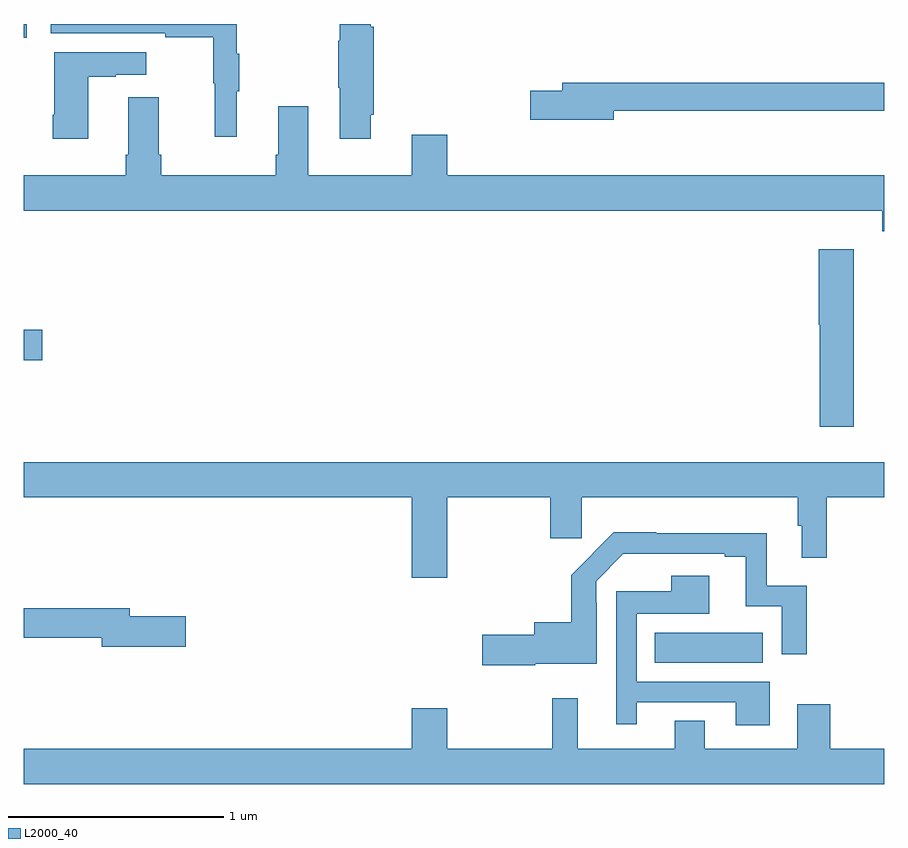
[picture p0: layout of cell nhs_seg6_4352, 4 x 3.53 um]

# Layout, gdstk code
import gdstk
lib = gdstk.Library(unit=1e-6, precision=1e-09)
def R(c, l, rs):  # rectangles x0, y0, x1, y1
    for r in rs: c.add(gdstk.rectangle(r[:2], r[2:], *l))
def P(c, l, *ps):  # polygons
    for p in ps: c.add(gdstk.Polygon(p, *l))
L2000_40 = (2000, 40)

nhs_seg6_4352 = lib.new_cell('nhs_seg6_4352')
R(nhs_seg6_4352, L2000_40, [(369.934,982.532,370.435,982.672), (367,983.938,367.087,984.08), (367,985.437,367.015,985.5)])
P(nhs_seg6_4352, L2000_40, [(367.991,985.187),(368.002,985.187),(368.002,985.361),(367.991,985.361),(367.991,985.5),(367.125,985.5),(367.125,985.458),(367.657,985.458),(367.657,985.438),(367.881,985.438),(367.881,985.224),(367.888,985.224),(367.888,984.975),(367.991,984.975)],
  [(368.614,985.078),(368.627,985.078),(368.627,985.488),(368.614,985.488),(368.614,985.5),(368.468,985.5),(368.468,985.421),(368.461,985.421),(368.461,985.204),(368.468,985.204),(368.468,984.966),(368.614,984.966)],
  [(367.3,985.255),(367.427,985.255),(367.427,985.265),(367.57,985.265),(367.57,985.369),(367.142,985.369),(367.142,985.078),(367.135,985.078),(367.135,984.966),(367.3,984.966)],
  [(369.742,985.098),(371,985.098),(371,985.226),(369.503,985.226),(369.503,985.19),(369.354,985.19),(369.354,985.055),(369.742,985.055)],
  [(371,984.796),(368.968,984.796),(368.968,984.985),(368.804,984.985),(368.804,984.796),(368.323,984.796),(368.323,985.117),(368.183,985.117),(368.183,984.892),(368.171,984.892),(368.171,984.796),(367.64,984.796),(367.64,984.892),(367.627,984.892),(367.627,985.159),(367.487,985.159),(367.487,984.892),(367.475,984.892),(367.475,984.796),(367,984.796),(367,984.632),(370.991,984.632),(370.991,984.536),(371,984.536)],
  [(370.858,984.454),(370.694,984.454),(370.694,984.102),(370.7,984.102),(370.7,983.628),(370.858,983.628)],
  [(368.968,983.3),(369.448,983.3),(369.448,983.109),(369.593,983.109),(369.593,983.3),(370.597,983.3),(370.597,983.168),(370.616,983.168),(370.616,983.019),(370.733,983.019),(370.733,983.3),(371,983.3),(371,983.464),(367,983.464),(367,983.3),(368.804,983.3),(368.804,982.926),(368.968,982.926)],
  [(369.378,982.526),(369.663,982.526),(369.663,982.811),(369.66,982.811),(369.66,982.911),(369.786,983.037),(370.259,983.037),(370.259,983.025),(370.355,983.025),(370.355,982.794),(370.524,982.794),(370.524,982.572),(370.64,982.572),(370.64,982.89),(370.453,982.89),(370.453,983.134),(369.941,983.134),(369.941,983.137),(369.742,983.137),(369.545,982.939),(369.545,982.72),(369.374,982.72),(369.374,982.661),(369.132,982.661),(369.132,982.519),(369.378,982.519)],
  [(370.468,982.443),(369.849,982.443),(369.849,982.76),(370.186,982.76),(370.186,982.936),(370.01,982.936),(370.01,982.864),(369.753,982.864),(369.753,982.245),(369.85,982.245),(369.85,982.347),(370.31,982.347),(370.31,982.241),(370.468,982.241)],
  [(367.753,982.748),(367.492,982.748),(367.492,982.784),(367,982.784),(367,982.648),(367.364,982.648),(367.364,982.606),(367.753,982.606)],
  [(371,982.132),(370.748,982.132),(370.748,982.339),(370.595,982.339),(370.595,982.132),(370.165,982.132),(370.165,982.262),(370.025,982.262),(370.025,982.132),(369.575,982.132),(369.575,982.366),(369.457,982.366),(369.457,982.132),(368.968,982.132),(368.968,982.321),(368.804,982.321),(368.804,982.132),(367,982.132),(367,981.968),(371,981.968)])

lib.write_gds('nhs_seg6_4352.gds')
